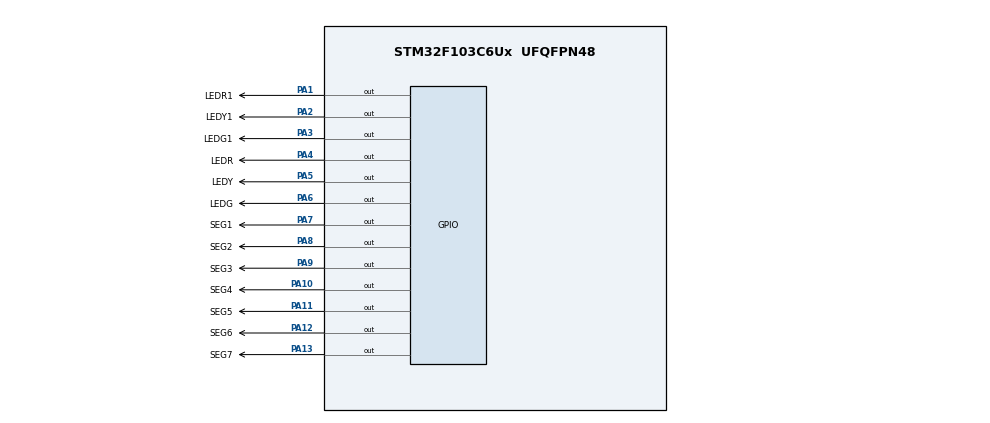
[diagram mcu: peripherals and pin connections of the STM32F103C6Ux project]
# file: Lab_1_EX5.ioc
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Mcu.Family=STM32F1
Mcu.Name=STM32F103C6Ux
Mcu.Package=UFQFPN48
NVIC.PriorityGroup=NVIC_PRIORITYGROUP_4
PA1.GPIO_Label=LEDR1
PA1.Signal=GPIO_Output
PA10.GPIO_Label=SEG4
PA10.Signal=GPIO_Output
PA11.GPIO_Label=SEG5
PA11.Signal=GPIO_Output
PA12.GPIO_Label=SEG6
PA12.Signal=GPIO_Output
PA13.GPIO_Label=SEG7
PA13.Signal=GPIO_Output
PA2.GPIO_Label=LEDY1
PA2.Signal=GPIO_Output
PA3.GPIO_Label=LEDG1
PA3.Signal=GPIO_Output
PA4.GPIO_Label=LEDR
PA4.Signal=GPIO_Output
PA5.GPIO_Label=LEDY
PA5.Signal=GPIO_Output
PA6.GPIO_Label=LEDG
PA6.Signal=GPIO_Output
PA7.GPIO_Label=SEG1
PA7.Signal=GPIO_Output
PA8.GPIO_Label=SEG2
PA8.Signal=GPIO_Output
PA9.GPIO_Label=SEG3
PA9.Signal=GPIO_Output
ProjectManager.HeapSize=0x200
ProjectManager.StackSize=0x400
ProjectManager.TargetToolchain=STM32CubeIDE
RCC.APB1Freq_Value=8000000
RCC.APB2Freq_Value=8000000
VP_SYS_VS_ND.Mode=No_Debug
board=custom

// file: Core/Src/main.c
/* USER CODE BEGIN Header */
/**
  ******************************************************************************
  * @file           : main.c
  * @brief          : Main program body
  ******************************************************************************
  * @attention
  *
  * <h2><center>&copy; Copyright (c) 2026 STMicroelectronics.
  * All rights reserved.</center></h2>
  *
  * This software component is licensed by ST under BSD 3-Clause license,
  * the "License"; You may not use this file except in compliance with the
  * License. You may obtain a copy of the License at:
  *                        opensource.org/licenses/BSD-3-Clause
  *
  ******************************************************************************
  */
/* USER CODE END Header */
#include "main.h"

void SystemClock_Config(void);
static void MX_GPIO_Init(void);
/* USER CODE BEGIN PFP */
void display7SEG(int num);
/* USER CODE END PFP */

int main(void)
{

  /* MCU Configuration--------------------------------------------------------*/

  /* Reset of all peripherals, Initializes the Flash interface and the Systick. */
  HAL_Init();

  /* Configure the system clock */
  SystemClock_Config();

  /* Initialize all configured peripherals */
  MX_GPIO_Init();

  /* Infinite loop */
  /* USER CODE BEGIN WHILE */
  while (1)
  {
	  // ===== Pha 1: N1 GREEN (3s) — N2 RED =====
	      HAL_GPIO_WritePin(LEDR1_GPIO_Port, LEDR1_Pin, GPIO_PIN_RESET);
	      HAL_GPIO_WritePin(LEDY1_GPIO_Port, LEDY1_Pin, GPIO_PIN_RESET);
	      HAL_GPIO_WritePin(LEDG1_GPIO_Port, LEDG1_Pin, GPIO_PIN_SET);
	      HAL_GPIO_WritePin(LEDR_GPIO_Port,  LEDR_Pin,  GPIO_PIN_SET);
	      HAL_GPIO_WritePin(LEDY_GPIO_Port,  LEDY_Pin,  GPIO_PIN_RESET);
	      HAL_GPIO_WritePin(LEDG_GPIO_Port,  LEDG_Pin,  GPIO_PIN_RESET);
	      for (int t = 3; t > 0; t--) {
	          display7SEG(t);
	          HAL_Delay(1000);
	      }

	      // ===== Pha 2: N1 YELLOW (2s) — N2 vẫn RED =====
	      HAL_GPIO_WritePin(LEDG1_GPIO_Port, LEDG1_Pin, GPIO_PIN_RESET);
	      HAL_GPIO_WritePin(LEDY1_GPIO_Port, LEDY1_Pin, GPIO_PIN_SET);
	      for (int t = 2; t > 0; t--) {
	          display7SEG(t);
	          HAL_Delay(1000);
	      }

	      // ===== Pha 3: N1 RED — N2 GREEN (3s) =====
	      HAL_GPIO_WritePin(LEDY1_GPIO_Port, LEDY1_Pin, GPIO_PIN_RESET);
	      HAL_GPIO_WritePin(LEDR1_GPIO_Port, LEDR1_Pin, GPIO_PIN_SET);
	      HAL_GPIO_WritePin(LEDR_GPIO_Port,  LEDR_Pin,  GPIO_PIN_RESET);
	      HAL_GPIO_WritePin(LEDG_GPIO_Port,  LEDG_Pin,  GPIO_PIN_SET);
	      for (int t = 3; t > 0; t--) {
	          display7SEG(t);
	          HAL_Delay(1000);
	      }

	      // ===== Pha 4: N1 vẫn RED — N2 YELLOW (2s) =====
	      HAL_GPIO_WritePin(LEDG_GPIO_Port, LEDG_Pin, GPIO_PIN_RESET);
	      HAL_GPIO_WritePin(LEDY_GPIO_Port, LEDY_Pin, GPIO_PIN_SET);
	      for (int t = 2; t > 0; t--) {
	          display7SEG(t);
	          HAL_Delay(1000);
	      }
    /* USER CODE END WHILE */

  }
}

void SystemClock_Config(void)
{
  RCC_OscInitTypeDef RCC_OscInitStruct = {0};
  RCC_ClkInitTypeDef RCC_ClkInitStruct = {0};

  /** Initializes the RCC Oscillators according to the specified parameters
  * in the RCC_OscInitTypeDef structure.
  */
  RCC_OscInitStruct.OscillatorType = RCC_OSCILLATORTYPE_HSI;
  RCC_OscInitStruct.HSIState = RCC_HSI_ON;
  RCC_OscInitStruct.HSICalibrationValue = RCC_HSICALIBRATION_DEFAULT;
  RCC_OscInitStruct.PLL.PLLState = RCC_PLL_NONE;
  if (HAL_RCC_OscConfig(&RCC_OscInitStruct) != HAL_OK)
  {
    Error_Handler();
  }
  /** Initializes the CPU, AHB and APB buses clocks
  */
  RCC_ClkInitStruct.ClockType = RCC_CLOCKTYPE_HCLK|RCC_CLOCKTYPE_SYSCLK
                              |RCC_CLOCKTYPE_PCLK1|RCC_CLOCKTYPE_PCLK2;
  RCC_ClkInitStruct.SYSCLKSource = RCC_SYSCLKSOURCE_HSI;
  RCC_ClkInitStruct.AHBCLKDivider = RCC_SYSCLK_DIV1;
  RCC_ClkInitStruct.APB1CLKDivider = RCC_HCLK_DIV1;
  RCC_ClkInitStruct.APB2CLKDivider = RCC_HCLK_DIV1;

  if (HAL_RCC_ClockConfig(&RCC_ClkInitStruct, FLASH_LATENCY_0) != HAL_OK)
  {
    Error_Handler();
  }
}

static void MX_GPIO_Init(void)
{
  GPIO_InitTypeDef GPIO_InitStruct = {0};

  /* GPIO Ports Clock Enable */
  __HAL_RCC_GPIOA_CLK_ENABLE();

  /*Configure GPIO pin Output Level */
  HAL_GPIO_WritePin(GPIOA, LEDR1_Pin|LEDY1_Pin|LEDG1_Pin|LEDR_Pin
                          |LEDY_Pin|LEDG_Pin|SEG1_Pin|SEG2_Pin
                          |SEG3_Pin|SEG4_Pin|SEG5_Pin|SEG6_Pin
                          |SEG7_Pin, GPIO_PIN_RESET);

  /*Configure GPIO pins : LEDR1_Pin LEDY1_Pin LEDG1_Pin LEDR_Pin
                           LEDY_Pin LEDG_Pin SEG1_Pin SEG2_Pin
                           SEG3_Pin SEG4_Pin SEG5_Pin SEG6_Pin
                           SEG7_Pin */
  GPIO_InitStruct.Pin = LEDR1_Pin|LEDY1_Pin|LEDG1_Pin|LEDR_Pin
                          |LEDY_Pin|LEDG_Pin|SEG1_Pin|SEG2_Pin
                          |SEG3_Pin|SEG4_Pin|SEG5_Pin|SEG6_Pin
                          |SEG7_Pin;
  GPIO_InitStruct.Mode = GPIO_MODE_OUTPUT_PP;
  GPIO_InitStruct.Pull = GPIO_NOPULL;
  GPIO_InitStruct.Speed = GPIO_SPEED_FREQ_LOW;
  HAL_GPIO_Init(GPIOA, &GPIO_InitStruct);

}

/* USER CODE BEGIN 4 */
void display7SEG(int num) {
    const uint8_t segment_table[10] = {
        0b1000000, 0b1111001, 0b0100100, 0b0110000, 0b0011001,
        0b0010010, 0b0000010, 0b1111000, 0b0000000, 0b0010000
    };
    uint8_t pattern = segment_table[num];
    HAL_GPIO_WritePin(SEG1_GPIO_Port, SEG1_Pin, (pattern & 0x01) ? GPIO_PIN_SET : GPIO_PIN_RESET); // a
    HAL_GPIO_WritePin(SEG2_GPIO_Port, SEG2_Pin, (pattern & 0x02) ? GPIO_PIN_SET : GPIO_PIN_RESET); // b
    HAL_GPIO_WritePin(SEG3_GPIO_Port, SEG3_Pin, (pattern & 0x04) ? GPIO_PIN_SET : GPIO_PIN_RESET); // c
    HAL_GPIO_WritePin(SEG4_GPIO_Port, SEG4_Pin, (pattern & 0x08) ? GPIO_PIN_SET : GPIO_PIN_RESET); // d
    HAL_GPIO_WritePin(SEG5_GPIO_Port, SEG5_Pin, (pattern & 0x10) ? GPIO_PIN_SET : GPIO_PIN_RESET); // e
    HAL_GPIO_WritePin(SEG6_GPIO_Port, SEG6_Pin, (pattern & 0x20) ? GPIO_PIN_SET : GPIO_PIN_RESET); // f
    HAL_GPIO_WritePin(SEG7_GPIO_Port, SEG7_Pin, (pattern & 0x40) ? GPIO_PIN_SET : GPIO_PIN_RESET); // g
}
/* USER CODE END 4 */

void Error_Handler(void)
{
  __disable_irq();
  while (1)
  {
  }
}

/************************ (C) COPYRIGHT STMicroelectronics *****END OF FILE****/
